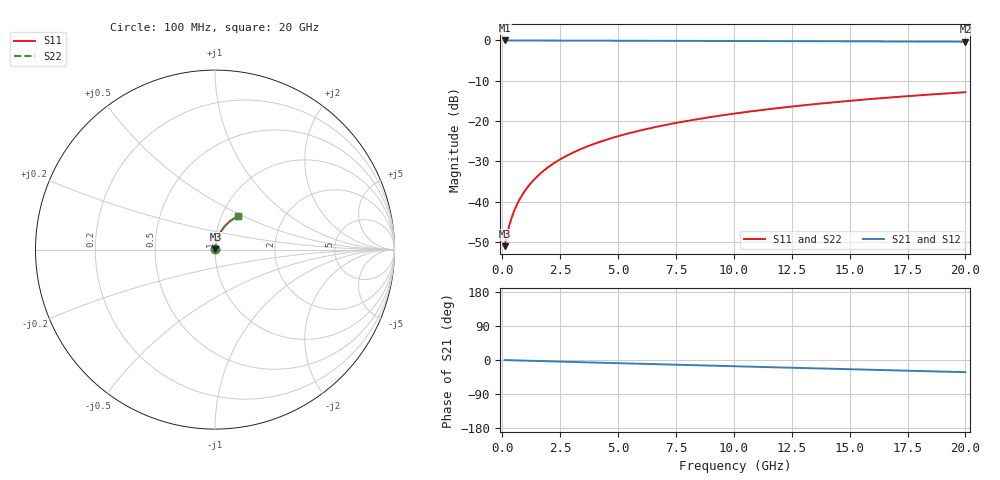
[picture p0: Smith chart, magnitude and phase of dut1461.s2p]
! Touchstone file exported from HFSS 2026.1.0
!  File:  C:/ffzhzh/LocalFiles/Ansys_Project_Files/temp_train_BSMRDL_1461_1783180896_18472.aedt
!  Generated:  12:02:52 AM Jul  5, 2026
!  Design:  BSMRDL
!  Project:  temp_train_BSMRDL_1461_1783180896_18472
! Variables:
!  h_bsmrdl = 5.28um
!  h_ox = 20um
!  h_rdl = 5um
!  h_sub = 80um
!  h_tmrdl = 5um
!  h_tsv = 80um
!  h_via = 3um
!  l_bsmrdl = 519.36um
!  l_sub = 919.36um
!  l_tmrdl = 200um
!  m_sub = 200um
!  pitch = 29.67um
!  r_tsv = 6um
!  s_tmrdl = 10um
!  w_bsmrdl = 15.62um
!  w_sub = 500um
!  w_tmrdl = 12um
!  x_tsv_center1 = 206um
!  x_tsv_center2 = 740.98um
!  x_tsv_center3 = 952.98um
!  x_tsv_center4 = 1487.96um
!  x_tsv_center5 = 1699.96um
!  x_tsv_center6 = 2234.94um
# GHz S MA R 50.000000
! Terminal data exported
! Port[1] = BSM_RDL1_1_T1
! Port[2] = BSM_RDL1_1_T2
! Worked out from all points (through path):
!   200 points, 100 MHz to 20 GHz, reference 50 ohm
!   highest |S21| = -0.02 dB at 100 MHz (marker M1); lowest = -0.3 dB at 20 GHz (marker M2)
!   group delay of S21, straight-line fit = 4.45 ps
!   lowest |S11| = -51.0 dB at 100 MHz (marker M3), VSWR 1.01, Z = 50.2 + j0.153 ohm
!   |S11| at or under -10 dB: start of sweep to end of sweep
!   |S22| runs from -51.0 to -12.9 dB; largest |S21 - S12| = 3.1e-15
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0.1  0.002812 32.8  0.9976 -0.2  0.9976 -0.2  0.002812 32.8
! Gamma 0 0 0 0
! Port Impedance 50 0 50 0
0.2  0.003878 49.6  0.9975 -0.4  0.9975 -0.4  0.003878 49.6
0.3  0.00506 58.4  0.9974 -0.5  0.9974 -0.5  0.00506 58.4
0.4  0.006276 63.8  0.9973 -0.7  0.9973 -0.7  0.006276 63.8
0.5  0.007516 67.5  0.9972 -0.9  0.9972 -0.9  0.007516 67.5
0.6  0.008776 70.2  0.9971 -1.0  0.9971 -1.0  0.008776 70.2
0.8  0.01134 73.7  0.997 -1.4  0.997 -1.4  0.01134 73.7
1  0.01394 75.8  0.9969 -1.7  0.9969 -1.7  0.01394 75.8
1.2  0.01656 77.1  0.9968 -2.1  0.9968 -2.1  0.01656 77.1
1.4  0.01918 78.0  0.9966 -2.4  0.9966 -2.4  0.01918 78.0
1.7  0.02312 78.7  0.9964 -2.9  0.9964 -2.9  0.02312 78.7
2.2  0.02964 79.1  0.9958 -3.7  0.9958 -3.7  0.02964 79.1
2.8  0.03739 78.9  0.9951 -4.7  0.9951 -4.7  0.03739 78.9
3.5  0.04628 78.2  0.9942 -5.9  0.9942 -5.9  0.04628 78.2
4.2  0.05503 77.4  0.9932 -7.1  0.9932 -7.1  0.05503 77.4
5  0.06487 76.4  0.992 -8.4  0.992 -8.4  0.06487 76.4
6.8  0.08648 74.0  0.9892 -11.3  0.9892 -11.3  0.08648 74.0
8.3  0.104 71.9  0.9866 -13.7  0.9866 -13.7  0.104 71.9
10.1  0.1246 69.3  0.9834 -16.6  0.9834 -16.6  0.1246 69.3
13.4  0.161 64.6  0.9769 -21.9  0.9769 -21.9  0.161 64.6
16.7  0.1955 59.8  0.9696 -27.0  0.9696 -27.0  0.1955 59.8
20  0.2278 54.9  0.9618 -32.1  0.9618 -32.1  0.2278 54.9
